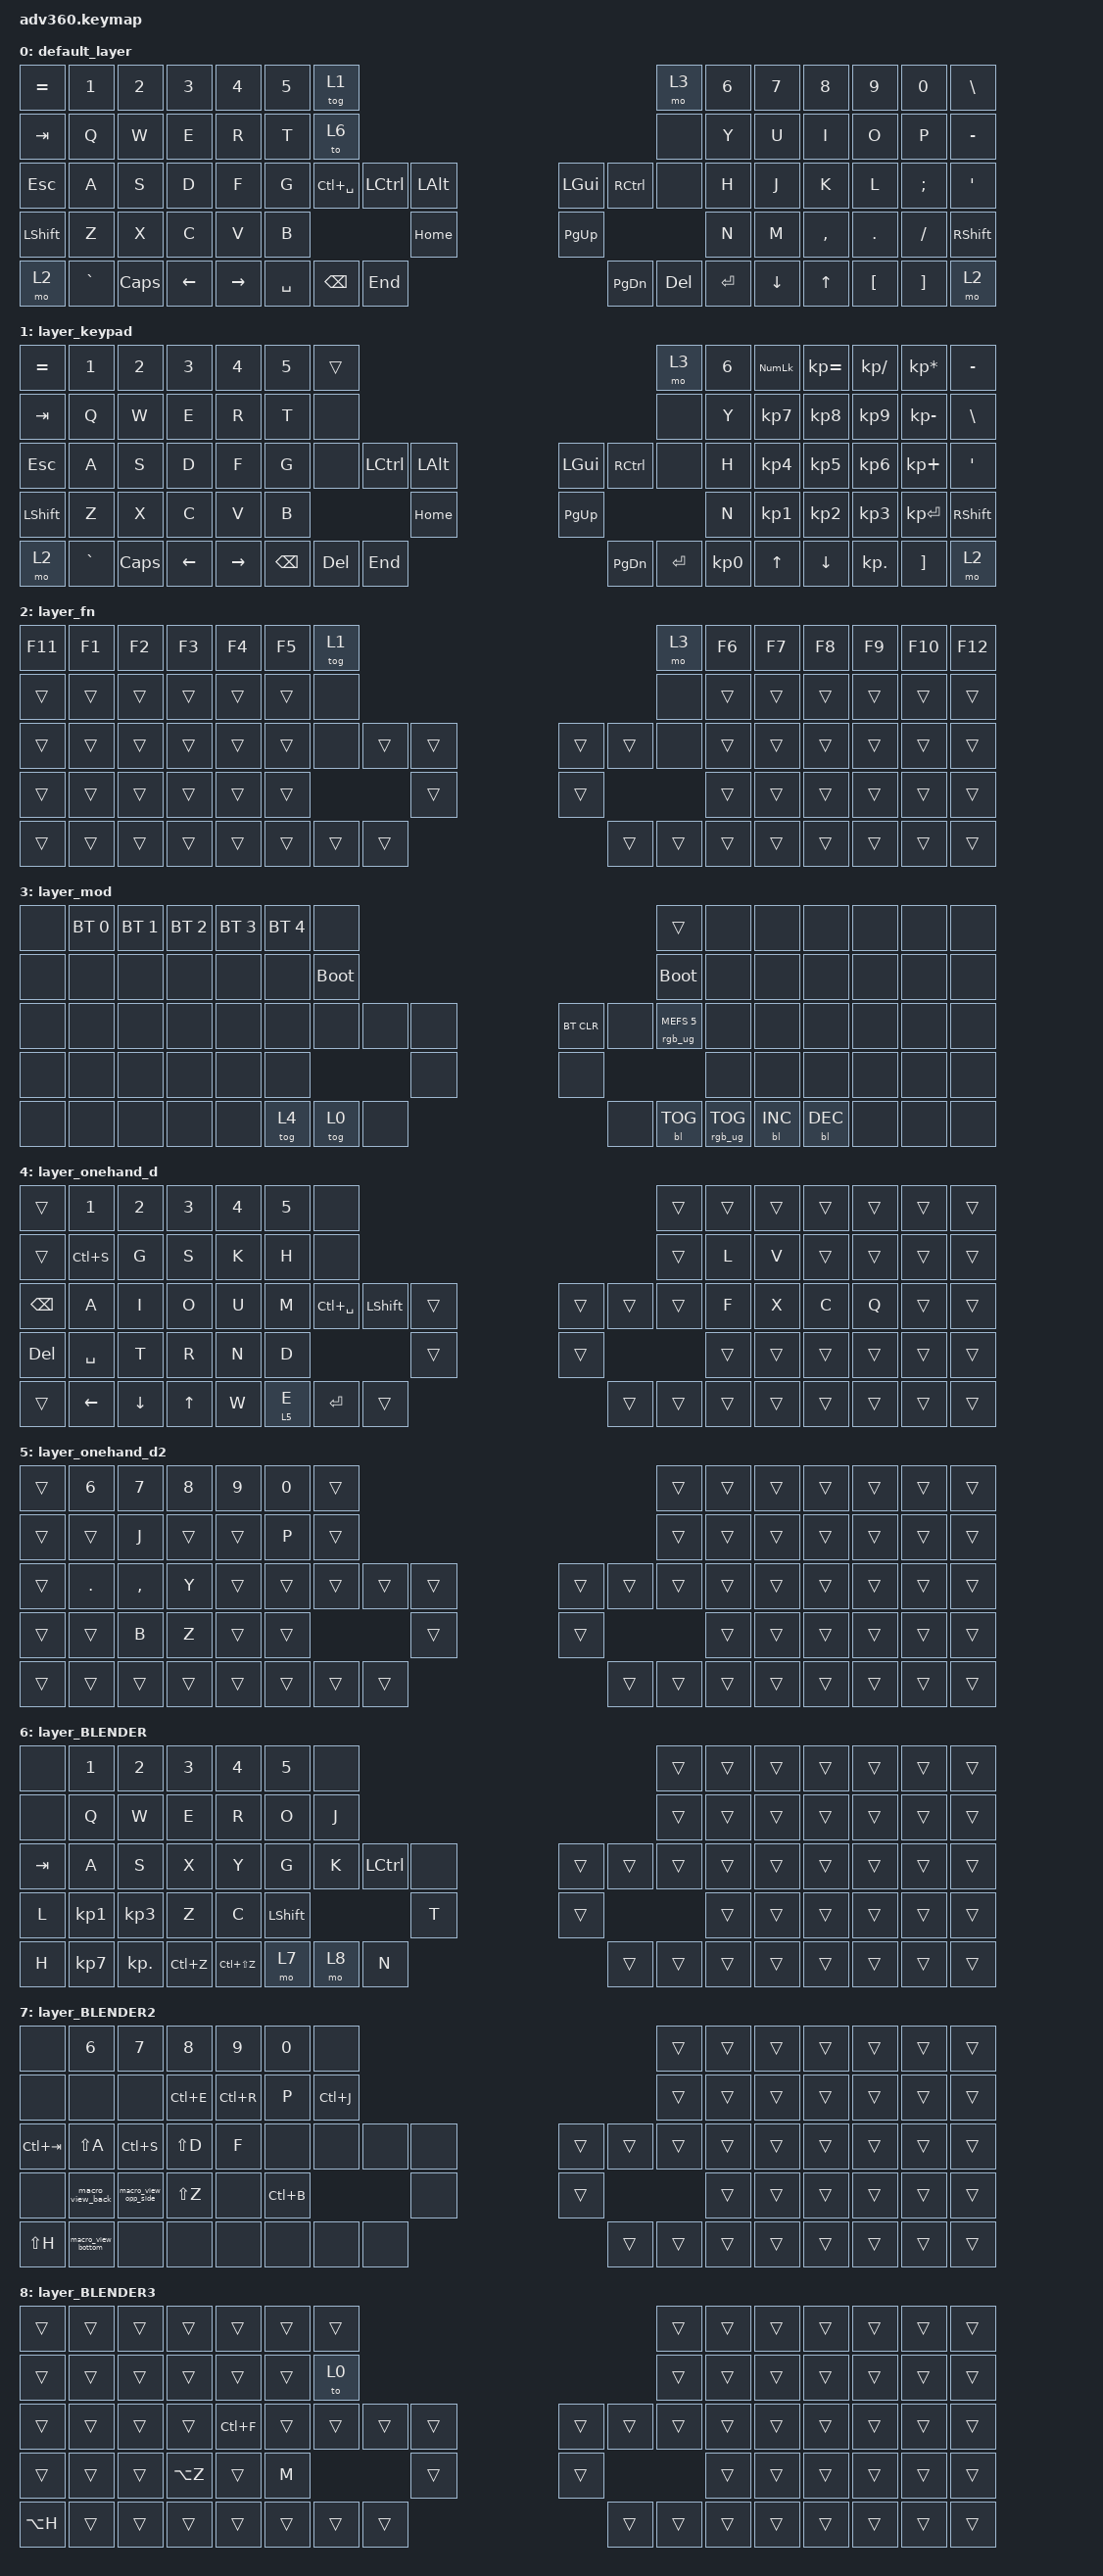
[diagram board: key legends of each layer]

/*
 * Copyright (c) 2020 The ZMK Contributors
 *
 * SPDX-License-Identifier: MIT
 */


/* THIS FILE WAS GENERATED!
 *
 * This file was generated automatically. You may or may not want to
 * edit it directly.
 */

#include <behaviors.dtsi>
#include <dt-bindings/zmk/keys.h>
#include <dt-bindings/zmk/bt.h>
#include <dt-bindings/zmk/rgb.h>
#include <dt-bindings/zmk/backlight.h>

/ {
  behaviors {
    #include "macros.dtsi"

    hm: homerow_mods {
        compatible = "zmk,behavior-hold-tap";
        label = "HOMEROW_MODS";
        #binding-cells = <2>;
        tapping-term-ms = <200>;
        quick_tap_ms = <175>;
        flavor = "tap-preferred";
        bindings = <&kp>, <&kp>;
    };
  };

    keymap {
        compatible = "zmk,keymap";


        default_layer {
            bindings = <
 &kp EQUAL     &kp N1    &kp N2    &kp N3     &kp N4  &kp N5                   &tog 1                                                                      &mo 3  &kp N6    &kp N7     &kp N8    &kp N9    &kp N0   &kp BSLH
   &kp TAB      &kp Q     &kp W     &kp E      &kp R   &kp T                    &to 6                                                                      &none   &kp Y     &kp U      &kp I     &kp O     &kp P  &kp MINUS
   &kp ESC      &kp A     &kp S     &kp D      &kp F   &kp G            &kp LC(SPACE)      &kp LCTRL  &kp LALT                   &kp LGUI   &kp RCTRL      &none   &kp H     &kp J      &kp K     &kp L  &kp SEMI    &kp SQT
 &kp LSHFT      &kp Z     &kp X     &kp C      &kp V   &kp B                                          &kp HOME                  &kp PG_UP                          &kp N     &kp M  &kp COMMA   &kp DOT  &kp FSLH  &kp RSHFT
     &mo 2  &kp GRAVE  &kp CAPS  &kp LEFT  &kp RIGHT                        &kp SPACE  &kp BACKSPACE   &kp END                  &kp PG_DN  &kp DELETE  &kp ENTER          &kp DOWN     &kp UP  &kp LBKT  &kp RBKT      &mo 2
            >;
        };

        layer_keypad {
            bindings = <
 &kp EQUAL     &kp N1    &kp N2    &kp N3     &kp N4  &kp N5              &trans                                                                 &mo 3  &kp N6  &kp KP_NUM  &kp KP_EQUAL  &kp KP_DIVIDE  &kp KP_MULTIPLY  &kp MINUS
   &kp TAB      &kp Q     &kp W     &kp E      &kp R   &kp T               &none                                                                 &none   &kp Y   &kp KP_N7     &kp KP_N8      &kp KP_N9     &kp KP_MINUS   &kp BSLH
   &kp ESC      &kp A     &kp S     &kp D      &kp F   &kp G               &none  &kp LCTRL  &kp LALT                   &kp LGUI  &kp RCTRL      &none   &kp H   &kp KP_N4     &kp KP_N5      &kp KP_N6      &kp KP_PLUS    &kp SQT
 &kp LSHFT      &kp Z     &kp X     &kp C      &kp V   &kp B                                 &kp HOME                  &kp PG_UP                         &kp N   &kp KP_N1     &kp KP_N2      &kp KP_N3     &kp KP_ENTER  &kp RSHFT
     &mo 2  &kp GRAVE  &kp CAPS  &kp LEFT  &kp RIGHT                    &kp BSPC    &kp DEL   &kp END                  &kp PG_DN  &kp ENTER  &kp KP_N0              &kp UP      &kp DOWN     &kp KP_DOT         &kp RBKT      &mo 2
            >;
        };

        layer_fn {
            bindings = <
 &kp F11  &kp F1  &kp F2  &kp F3  &kp F4  &kp F5            &tog 1                                                   &mo 3  &kp F6  &kp F7  &kp F8  &kp F9  &kp F10  &kp F12
  &trans  &trans  &trans  &trans  &trans  &trans             &none                                                   &none  &trans  &trans  &trans  &trans   &trans   &trans
  &trans  &trans  &trans  &trans  &trans  &trans             &none  &trans  &trans                  &trans  &trans   &none  &trans  &trans  &trans  &trans   &trans   &trans
  &trans  &trans  &trans  &trans  &trans  &trans                            &trans                  &trans                  &trans  &trans  &trans  &trans   &trans   &trans
  &trans  &trans  &trans  &trans  &trans                    &trans  &trans  &trans                  &trans  &trans  &trans          &trans  &trans  &trans   &trans   &trans
            >;
        };

        layer_mod {
            bindings = <
  &none  &bt BT_SEL 0  &bt BT_SEL 1  &bt BT_SEL 2  &bt BT_SEL 3  &bt BT_SEL 4                  &none                                                                          &trans   &none       &none       &none   &none   &none   &none
  &none         &none         &none         &none         &none         &none            &bootloader                                                                     &bootloader   &none       &none       &none   &none   &none   &none
  &none         &none         &none         &none         &none         &none                  &none   &none   &none                  &bt BT_CLR       &none  &rgb_ug RGB_MEFS_CMD 5   &none       &none       &none   &none   &none   &none
  &none         &none         &none         &none         &none         &none                                  &none                       &none                                       &none       &none       &none   &none   &none   &none
  &none         &none         &none         &none         &none                               &tog 4  &tog 0   &none                       &none  &bl BL_TOG         &rgb_ug RGB_TOG          &bl BL_INC  &bl BL_DEC   &none   &none   &none
            >;
        };

        layer_onehand_d {
            bindings = <
        &trans          &kp N1          &kp N2        &kp N3  &kp N4  &kp N5                    &none                                                          &trans  &trans  &trans  &trans  &trans  &trans  &trans
        &trans       &kp LC(S)           &kp G         &kp S   &kp K   &kp H                    &none                                                          &trans   &kp L   &kp V  &trans  &trans  &trans  &trans
 &kp BACKSPACE           &kp A           &kp I         &kp O   &kp U   &kp M            &kp LC(SPACE)  &kp LEFT_SHIFT  &trans                  &trans  &trans  &trans   &kp F   &kp X   &kp C   &kp Q  &trans  &trans
    &kp DELETE       &kp SPACE           &kp T         &kp R   &kp N   &kp D                                           &trans                  &trans                  &trans  &trans  &trans  &trans  &trans  &trans
        &trans  &kp LEFT_ARROW  &kp DOWN_ARROW  &kp UP_ARROW   &kp W                          &lt 5 E      &kp RETURN  &trans                  &trans  &trans  &trans          &trans  &trans  &trans  &trans  &trans
            >;
        };

        layer_onehand_d2 {
            bindings = <
 &trans   &kp N6     &kp N7  &kp N8  &kp N9  &kp N0            &trans                                                  &trans  &trans  &trans  &trans  &trans  &trans  &trans
 &trans   &trans      &kp J  &trans  &trans   &kp P            &trans                                                  &trans  &trans  &trans  &trans  &trans  &trans  &trans
 &trans  &kp DOT  &kp COMMA   &kp Y  &trans  &trans            &trans  &trans  &trans                  &trans  &trans  &trans  &trans  &trans  &trans  &trans  &trans  &trans
 &trans   &trans      &kp B   &kp Z  &trans  &trans                            &trans                  &trans                  &trans  &trans  &trans  &trans  &trans  &trans
 &trans   &trans     &trans  &trans  &trans                    &trans  &trans  &trans                  &trans  &trans  &trans          &trans  &trans  &trans  &trans  &trans
            >;
        };

        layer_BLENDER {
            bindings = <
   &none     &kp N1      &kp N2     &kp N3         &kp N4     &kp N5            &none                                                     &trans  &trans  &trans  &trans  &trans  &trans  &trans
   &none      &kp Q       &kp W      &kp E          &kp R      &kp O            &kp J                                                     &trans  &trans  &trans  &trans  &trans  &trans  &trans
 &kp TAB      &kp A       &kp S      &kp X          &kp Y      &kp G            &kp K  &kp LCTRL   &none                  &trans  &trans  &trans  &trans  &trans  &trans  &trans  &trans  &trans
   &kp L  &kp KP_N1   &kp KP_N3      &kp Z          &kp C  &kp LSHFT                               &kp T                  &trans                  &trans  &trans  &trans  &trans  &trans  &trans
   &kp H  &kp KP_N7  &kp KP_DOT  &kp LC(Z)  &kp LC(LS(Z))                       &mo 7      &mo 8   &kp N                  &trans  &trans  &trans          &trans  &trans  &trans  &trans  &trans
            >;
        };

        layer_BLENDER2 {
            bindings = <
       &none              &kp N6                &kp N7     &kp N8     &kp N9     &kp N0                &none                                                  &trans  &trans  &trans  &trans  &trans  &trans  &trans
       &none               &none                 &none  &kp LC(E)  &kp LC(R)      &kp P            &kp LC(J)                                                  &trans  &trans  &trans  &trans  &trans  &trans  &trans
 &kp LC(TAB)           &kp LS(A)             &kp LC(S)  &kp LS(D)      &kp F      &none                &none   &none   &none                  &trans  &trans  &trans  &trans  &trans  &trans  &trans  &trans  &trans
       &none    &macro_view_back  &macro_view_opp_side  &kp LS(Z)      &none  &kp LC(B)                                &none                  &trans                  &trans  &trans  &trans  &trans  &trans  &trans
   &kp LS(H)  &macro_view_bottom                 &none      &none      &none                           &none   &none   &none                  &trans  &trans  &trans          &trans  &trans  &trans  &trans  &trans
            >;
        };

        layer_BLENDER3 {
            bindings = <
    &trans  &trans  &trans     &trans     &trans  &trans            &trans                                                  &trans  &trans  &trans  &trans  &trans  &trans  &trans
    &trans  &trans  &trans     &trans     &trans  &trans             &to 0                                                  &trans  &trans  &trans  &trans  &trans  &trans  &trans
    &trans  &trans  &trans     &trans  &kp LC(F)  &trans            &trans  &trans  &trans                  &trans  &trans  &trans  &trans  &trans  &trans  &trans  &trans  &trans
    &trans  &trans  &trans  &kp LA(Z)     &trans   &kp M                            &trans                  &trans                  &trans  &trans  &trans  &trans  &trans  &trans
 &kp LA(H)  &trans  &trans     &trans     &trans                    &trans  &trans  &trans                  &trans  &trans  &trans          &trans  &trans  &trans  &trans  &trans
            >;
        };

    };
};
